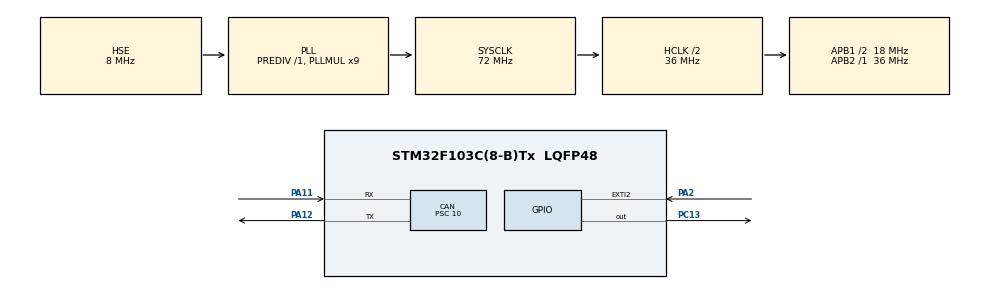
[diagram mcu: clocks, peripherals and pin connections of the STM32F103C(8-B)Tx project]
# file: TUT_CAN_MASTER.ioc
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CAN.BS1=CAN_BS1_10TQ
CAN.BS2=CAN_BS2_5TQ
CAN.CalculateBaudRate=112500
CAN.CalculateTimeBit=8888.88
CAN.CalculateTimeQuantum=555.5555555555555
CAN.Prescaler=10
Mcu.Family=STM32F1
Mcu.Name=STM32F103C(8-B)Tx
Mcu.Package=LQFP48
NVIC.EXTI2_IRQn=true\:0\:0\:false\:false\:true\:true\:true
NVIC.PriorityGroup=NVIC_PRIORITYGROUP_4
NVIC.USB_LP_CAN1_RX0_IRQn=true\:0\:0\:false\:false\:true\:true\:true
PA11.Mode=CAN_Activate
PA11.Signal=CAN_RX
PA12.Mode=CAN_Activate
PA12.Signal=CAN_TX
PA13.Mode=Serial_Wire
PA13.Signal=SYS_JTMS-SWDIO
PA14.Mode=Serial_Wire
PA14.Signal=SYS_JTCK-SWCLK
PA2.GPIO_PuPd=GPIO_PULLDOWN
PA2.Signal=GPXTI2
PC13-TAMPER-RTC.Signal=GPIO_Output
PD0-OSC_IN.Mode=HSE-External-Oscillator
PD0-OSC_IN.Signal=RCC_OSC_IN
PD1-OSC_OUT.Mode=HSE-External-Oscillator
PD1-OSC_OUT.Signal=RCC_OSC_OUT
ProjectManager.HeapSize=0x200
ProjectManager.StackSize=0x400
ProjectManager.TargetToolchain=STM32CubeIDE
RCC.AHBCLKDivider=RCC_SYSCLK_DIV2
RCC.AHBFreq_Value=36000000
RCC.APB1CLKDivider=RCC_HCLK_DIV2
RCC.APB1Freq_Value=18000000
RCC.APB1TimFreq_Value=36000000
RCC.APB2Freq_Value=36000000
RCC.APB2TimFreq_Value=36000000
RCC.HCLKFreq_Value=36000000
RCC.PLLMUL=RCC_PLL_MUL9
RCC.PLLSourceVirtual=RCC_PLLSOURCE_HSE
RCC.SYSCLKFreq_VALUE=72000000
RCC.SYSCLKSource=RCC_SYSCLKSOURCE_PLLCLK
RCC.USBFreq_Value=72000000
board=custom

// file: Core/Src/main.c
/* USER CODE BEGIN Header */
/**
  ******************************************************************************
  * @file           : main.c
  * @brief          : Main program body
  ******************************************************************************
  * @attention
  *
  * <h2><center>&copy; Copyright (c) 2021 STMicroelectronics.
  * All rights reserved.</center></h2>
  *
  * This software component is licensed by ST under BSD 3-Clause license,
  * the "License"; You may not use this file except in compliance with the
  * License. You may obtain a copy of the License at:
  *                        opensource.org/licenses/BSD-3-Clause
  *
  ******************************************************************************
  */
/* USER CODE END Header */
#include "main.h"

CAN_HandleTypeDef hcan;

void SystemClock_Config(void);
static void MX_GPIO_Init(void);
static void MX_CAN_Init(void);

/* USER CODE BEGIN 0 */

CAN_TxHeaderTypeDef TxHeader;
CAN_RxHeaderTypeDef RxHeader;

uint8_t TxData[8];
uint8_t RxData[8];

uint32_t TxMailbox;

int datacheck = 0;

void HAL_GPIO_EXTI_Callback(uint16_t GPIO_Pin) //Função para enviar a mensagem quando receber aviso de interrupção do botão
{
	if (GPIO_Pin == GPIO_PIN_2)
	{
		TxData[0] = 100;   // Delay a ser enviado em ms
		TxData[1] = 40;    // Repetições para o loop do led do slave

		HAL_CAN_AddTxMessage(&hcan, &TxHeader, TxData, &TxMailbox);
	}
}

void HAL_CAN_RxFifo0MsgPendingCallback(CAN_HandleTypeDef *hcan) // Função para recebimento de mensagens via CAN
{
	HAL_CAN_GetRxMessage(hcan, CAN_RX_FIFO0, &RxHeader, RxData);
	if (RxHeader.DLC == 2)
	{
		datacheck = 1; // Variavel para indicar que uma mensagem foi recebida
	}
}

/* USER CODE END 0 */

int main(void)
{

  /* MCU Configuration--------------------------------------------------------*/

  /* Reset of all peripherals, Initializes the Flash interface and the Systick. */
  HAL_Init();

  /* Configure the system clock */
  SystemClock_Config();

  /* Initialize all configured peripherals */
  MX_GPIO_Init();
  MX_CAN_Init();
  /* USER CODE BEGIN 2 */

  HAL_CAN_Start(&hcan);

  // Activate the notification
  HAL_CAN_ActivateNotification(&hcan, CAN_IT_RX_FIFO0_MSG_PENDING);

  TxHeader.DLC = 2;  // Quantidade de bytes para envio de mensagens maximo são 8 mas só foram necessarios 2
  TxHeader.IDE = CAN_ID_STD; // Indicação do tipo de ID neste caso ID Standarf
  TxHeader.RTR = CAN_RTR_DATA;
  TxHeader.StdId = 0x102;  // ID do dispositivo

  /* USER CODE END 2 */

  /* Infinite loop */
  /* USER CODE BEGIN WHILE */
  while (1)
  {

	  if (datacheck) // Função acionado ao receber uma mensagem
	  {
		  // blink the LED
		  for (int i=0; i<RxData[1]; i++) //Loop para acionamento do led indicando que esta ocorrenco comunicação em ambas direções
		  {
			  HAL_GPIO_TogglePin(GPIOC, GPIO_PIN_13); // Alternando o estado do LED
			  HAL_Delay(RxData[0]); // Delay de tempo
		  }

		  datacheck = 0;

	  }

	  HAL_Delay(500);// Delay de tempo

    /* USER CODE END WHILE */

  }
}

void SystemClock_Config(void)
{
  RCC_OscInitTypeDef RCC_OscInitStruct = {0};
  RCC_ClkInitTypeDef RCC_ClkInitStruct = {0};

  /** Initializes the RCC Oscillators according to the specified parameters
  * in the RCC_OscInitTypeDef structure.
  */
  RCC_OscInitStruct.OscillatorType = RCC_OSCILLATORTYPE_HSE;
  RCC_OscInitStruct.HSEState = RCC_HSE_ON;
  RCC_OscInitStruct.HSEPredivValue = RCC_HSE_PREDIV_DIV1;
  RCC_OscInitStruct.HSIState = RCC_HSI_ON;
  RCC_OscInitStruct.PLL.PLLState = RCC_PLL_ON;
  RCC_OscInitStruct.PLL.PLLSource = RCC_PLLSOURCE_HSE;
  RCC_OscInitStruct.PLL.PLLMUL = RCC_PLL_MUL9;
  if (HAL_RCC_OscConfig(&RCC_OscInitStruct) != HAL_OK)
  {
    Error_Handler();
  }
  /** Initializes the CPU, AHB and APB buses clocks
  */
  RCC_ClkInitStruct.ClockType = RCC_CLOCKTYPE_HCLK|RCC_CLOCKTYPE_SYSCLK
                              |RCC_CLOCKTYPE_PCLK1|RCC_CLOCKTYPE_PCLK2;
  RCC_ClkInitStruct.SYSCLKSource = RCC_SYSCLKSOURCE_PLLCLK;
  RCC_ClkInitStruct.AHBCLKDivider = RCC_SYSCLK_DIV2;
  RCC_ClkInitStruct.APB1CLKDivider = RCC_HCLK_DIV2;
  RCC_ClkInitStruct.APB2CLKDivider = RCC_HCLK_DIV1;

  if (HAL_RCC_ClockConfig(&RCC_ClkInitStruct, FLASH_LATENCY_2) != HAL_OK)
  {
    Error_Handler();
  }
}

static void MX_CAN_Init(void)
{

  hcan.Instance = CAN1;
  hcan.Init.Prescaler = 10;
  hcan.Init.Mode = CAN_MODE_NORMAL;
  hcan.Init.SyncJumpWidth = CAN_SJW_1TQ;
  hcan.Init.TimeSeg1 = CAN_BS1_10TQ;
  hcan.Init.TimeSeg2 = CAN_BS2_5TQ;
  hcan.Init.TimeTriggeredMode = DISABLE;
  hcan.Init.AutoBusOff = DISABLE;
  hcan.Init.AutoWakeUp = DISABLE;
  hcan.Init.AutoRetransmission = DISABLE;
  hcan.Init.ReceiveFifoLocked = DISABLE;
  hcan.Init.TransmitFifoPriority = DISABLE;
  if (HAL_CAN_Init(&hcan) != HAL_OK)
  {
    Error_Handler();
  }
  /* USER CODE BEGIN CAN_Init 2 */

  CAN_FilterTypeDef canfilterconfig;

  canfilterconfig.FilterActivation = CAN_FILTER_ENABLE;
  canfilterconfig.FilterBank = 7;  // which filter bank to use from the assigned ones
  canfilterconfig.FilterFIFOAssignment = CAN_FILTER_FIFO0;
  canfilterconfig.FilterIdHigh = 0x103<<5;
  canfilterconfig.FilterIdLow = 0;
  canfilterconfig.FilterMaskIdHigh = 0x103<<5;
  canfilterconfig.FilterMaskIdLow = 0x0000;
  canfilterconfig.FilterMode = CAN_FILTERMODE_IDMASK;
  canfilterconfig.FilterScale = CAN_FILTERSCALE_32BIT;
  canfilterconfig.SlaveStartFilterBank = 0;  // doesn't matter in single can controllers

  HAL_CAN_ConfigFilter(&hcan, &canfilterconfig);

  /* USER CODE END CAN_Init 2 */

}

static void MX_GPIO_Init(void)
{
  GPIO_InitTypeDef GPIO_InitStruct = {0};

  /* GPIO Ports Clock Enable */
  __HAL_RCC_GPIOC_CLK_ENABLE();
  __HAL_RCC_GPIOD_CLK_ENABLE();
  __HAL_RCC_GPIOA_CLK_ENABLE();

  /*Configure GPIO pin Output Level */
  HAL_GPIO_WritePin(GPIOC, GPIO_PIN_13, GPIO_PIN_RESET);

  /*Configure GPIO pin : PC13 */
  GPIO_InitStruct.Pin = GPIO_PIN_13;
  GPIO_InitStruct.Mode = GPIO_MODE_OUTPUT_PP;
  GPIO_InitStruct.Pull = GPIO_NOPULL;
  GPIO_InitStruct.Speed = GPIO_SPEED_FREQ_LOW;
  HAL_GPIO_Init(GPIOC, &GPIO_InitStruct);

  /*Configure GPIO pin : PA2 */
  GPIO_InitStruct.Pin = GPIO_PIN_2;
  GPIO_InitStruct.Mode = GPIO_MODE_IT_RISING;
  GPIO_InitStruct.Pull = GPIO_PULLDOWN;
  HAL_GPIO_Init(GPIOA, &GPIO_InitStruct);

  /* EXTI interrupt init*/
  HAL_NVIC_SetPriority(EXTI2_IRQn, 0, 0);
  HAL_NVIC_EnableIRQ(EXTI2_IRQn);

}

void Error_Handler(void)
{
  __disable_irq();
  while (1)
  {
  }
}

/************************ (C) COPYRIGHT STMicroelectronics *****END OF FILE****/
